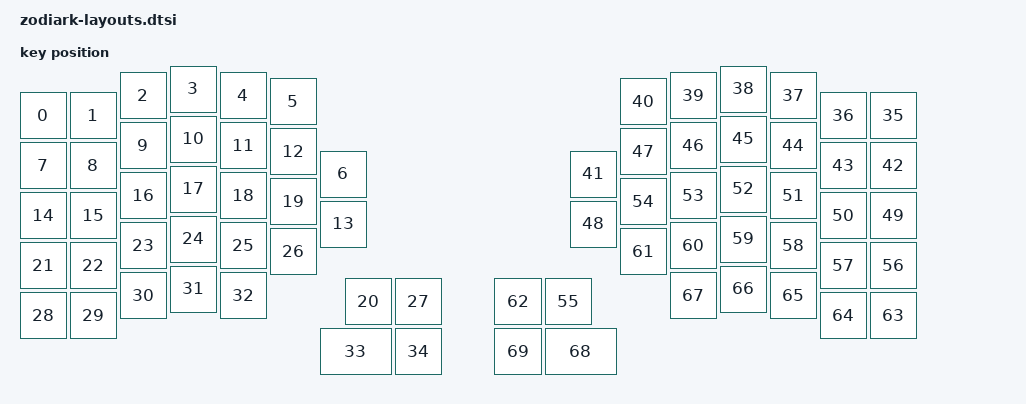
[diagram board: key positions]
#include <physical_layouts.dtsi>

/ {
    physical_layout0: physical_layout_0 {
        compatible = "zmk,physical-layout";
        display-name = "Default";

       keys  //                     w   h    x    y     rot    rx    ry
            = <&key_physical_attrs 100 100    0   53       0     0    53>
            , <&key_physical_attrs 100 100  100   53       0   100    53>
            , <&key_physical_attrs 100 100  200   13       0   200    13>
            , <&key_physical_attrs 100 100  300    0       0   300     0>
            , <&key_physical_attrs 100 100  400   13       0   400    13>
            , <&key_physical_attrs 100 100  500   25       0   500    25>
            , <&key_physical_attrs 100 100  600  170       0   600   170>
            , <&key_physical_attrs 100 100    0  153       0     0   153>
            , <&key_physical_attrs 100 100  100  153       0   100   153>
            , <&key_physical_attrs 100 100  200  113       0   200   113>
            , <&key_physical_attrs 100 100  300  100       0   300   100>
            , <&key_physical_attrs 100 100  400  113       0   400   113>
            , <&key_physical_attrs 100 100  500  125       0   500   125>
            , <&key_physical_attrs 100 100  600  270       0   600   270>
            , <&key_physical_attrs 100 100    0  253       0     0   253>
            , <&key_physical_attrs 100 100  100  253       0   100   253>
            , <&key_physical_attrs 100 100  200  213       0   200   213>
            , <&key_physical_attrs 100 100  300  200       0   300   200>
            , <&key_physical_attrs 100 100  400  213       0   400   213>
            , <&key_physical_attrs 100 100  500  225       0   500   225>
            , <&key_physical_attrs 100 100  650  425       0   650   425>
            , <&key_physical_attrs 100 100    0  353       0     0   353>
            , <&key_physical_attrs 100 100  100  353       0   100   353>
            , <&key_physical_attrs 100 100  200  313       0   200   313>
            , <&key_physical_attrs 100 100  300  300       0   300   300>
            , <&key_physical_attrs 100 100  400  313       0   400   313>
            , <&key_physical_attrs 100 100  500  325       0   500   325>
            , <&key_physical_attrs 100 100  750  425       0   750   425>
            , <&key_physical_attrs 100 100    0  453       0     0   453>
            , <&key_physical_attrs 100 100  100  453       0   100   453>
            , <&key_physical_attrs 100 100  200  413       0   200   413>
            , <&key_physical_attrs 100 100  300  400       0   300   400>
            , <&key_physical_attrs 100 100  400  413       0   400   413>
            , <&key_physical_attrs 150 100  600  525       0   600   525>
            , <&key_physical_attrs 100 100  750  525       0   750   525>
            , <&key_physical_attrs 100 100 1700   53       0  1700    53>
            , <&key_physical_attrs 100 100 1600   53       0  1600    53>
            , <&key_physical_attrs 100 100 1500   13       0  1500    13>
            , <&key_physical_attrs 100 100 1400    0       0  1400     0>
            , <&key_physical_attrs 100 100 1300   13       0  1300    13>
            , <&key_physical_attrs 100 100 1200   25       0  1200    25>
            , <&key_physical_attrs 100 100 1100  170       0  1100   170>
            , <&key_physical_attrs 100 100 1700  153       0  1700   153>
            , <&key_physical_attrs 100 100 1600  153       0  1600   153>
            , <&key_physical_attrs 100 100 1500  113       0  1500   113>
            , <&key_physical_attrs 100 100 1400  100       0  1400   100>
            , <&key_physical_attrs 100 100 1300  113       0  1300   113>
            , <&key_physical_attrs 100 100 1200  125       0  1200   125>
            , <&key_physical_attrs 100 100 1100  270       0  1100   270>
            , <&key_physical_attrs 100 100 1700  253       0  1700   253>
            , <&key_physical_attrs 100 100 1600  253       0  1600   253>
            , <&key_physical_attrs 100 100 1500  213       0  1500   213>
            , <&key_physical_attrs 100 100 1400  200       0  1400   200>
            , <&key_physical_attrs 100 100 1300  213       0  1300   213>
            , <&key_physical_attrs 100 100 1200  225       0  1200   225>
            , <&key_physical_attrs 100 100 1050  425       0  1050   425>
            , <&key_physical_attrs 100 100 1700  353       0  1700   353>
            , <&key_physical_attrs 100 100 1600  353       0  1600   353>
            , <&key_physical_attrs 100 100 1500  313       0  1500   313>
            , <&key_physical_attrs 100 100 1400  300       0  1400   300>
            , <&key_physical_attrs 100 100 1300  313       0  1300   313>
            , <&key_physical_attrs 100 100 1200  325       0  1200   325>
            , <&key_physical_attrs 100 100  950  425       0   950   425>
            , <&key_physical_attrs 100 100 1700  453       0  1700   453>
            , <&key_physical_attrs 100 100 1600  453       0  1600   453>
            , <&key_physical_attrs 100 100 1500  413       0  1500   413>
            , <&key_physical_attrs 100 100 1400  400       0  1400   400>
            , <&key_physical_attrs 100 100 1300  413       0  1300   413>
            , <&key_physical_attrs 150 100 1050  525       0  1050   525>
            , <&key_physical_attrs 100 100  950  525       0   950   525>
            ;
    };
};
